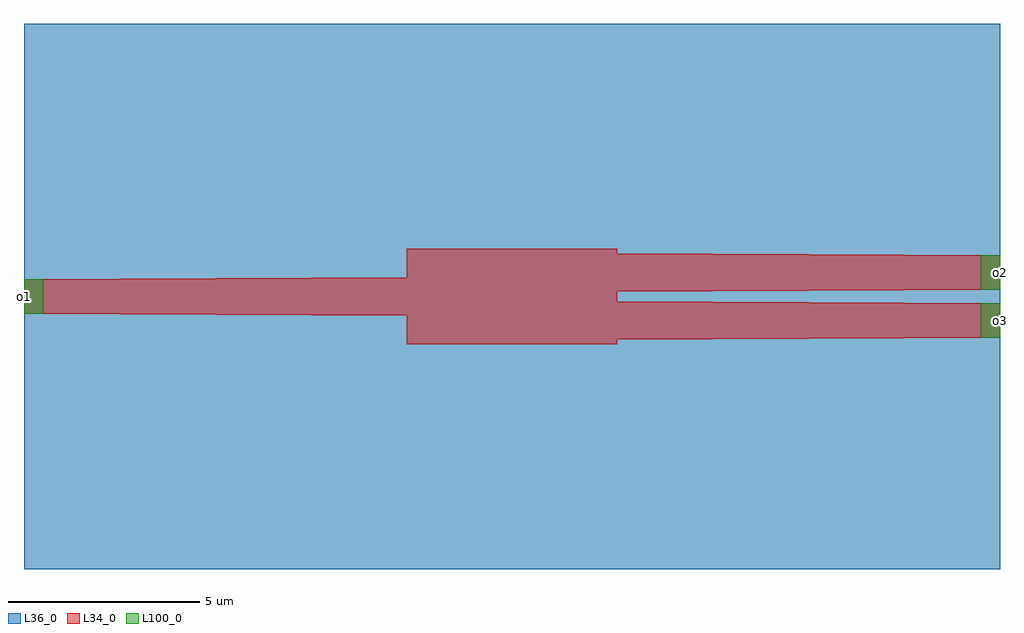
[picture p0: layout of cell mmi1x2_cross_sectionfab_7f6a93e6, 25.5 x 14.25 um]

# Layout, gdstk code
import gdstk
lib = gdstk.Library(unit=1e-6, precision=1e-09)
def R(c, l, rs):  # rectangles x0, y0, x1, y1
    for r in rs: c.add(gdstk.rectangle(r[:2], r[2:], *l))
def P(c, l, *ps):  # polygons
    for p in ps: c.add(gdstk.Polygon(p, *l))
L34_0 = (34, 0)
L36_0 = (36, 0)
L100_0 = (100, 0)

mmi1x2_cross_sectionfab_ = lib.new_cell('mmi1x2_cross_sectionfab_7f6a93e6')
R(mmi1x2_cross_sectionfab_, L34_0, [(-2.75,-1.25,2.75,1.25)])
P(mmi1x2_cross_sectionfab_, L34_0, [(12.75,-1.075),(2.75,-1.125),(2.75,-0.125),(12.75,-0.175)],
  [(12.75,0.175),(2.75,0.125),(2.75,1.125),(12.75,1.075)],
  [(-12.75,0.45),(-2.75,0.5),(-2.75,-0.5),(-12.75,-0.45)])
R(mmi1x2_cross_sectionfab_, L36_0, [(-12.75,-7.125,12.75,7.125), (2.75,-4.125,12.75,2.875), (-12.75,-3.5,-2.75,3.5), (2.75,-2.875,12.75,4.125)])
R(mmi1x2_cross_sectionfab_, L100_0, [(12.25,-1.075,12.75,-0.175), (-12.75,-0.45,-12.25,0.45), (12.25,0.175,12.75,1.075)])
mmi1x2_cross_sectionfab_.add(gdstk.Label('o3', (12.75,-0.625), layer=100, texttype=0))
mmi1x2_cross_sectionfab_.add(gdstk.Label('o2', (12.75,0.625), layer=100, texttype=0))
mmi1x2_cross_sectionfab_.add(gdstk.Label('o1', (-12.75,0), layer=100, texttype=0))

lib.write_gds('mmi1x2_cross_sectionfab_7f6a93e6.gds')
